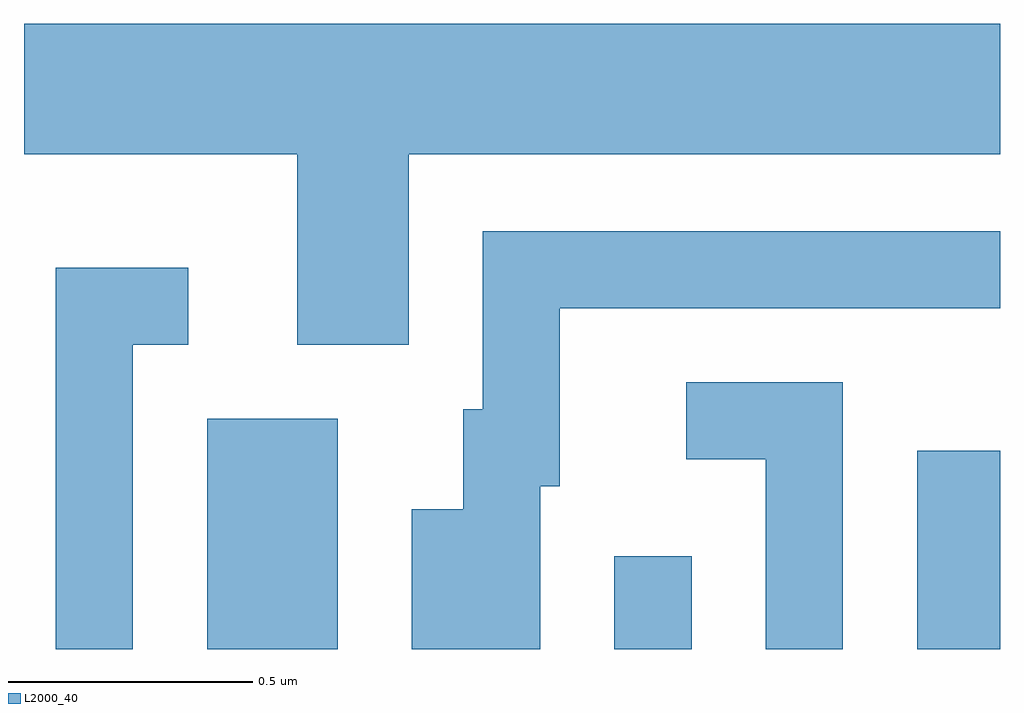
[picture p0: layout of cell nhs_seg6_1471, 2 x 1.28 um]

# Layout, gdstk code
import gdstk
lib = gdstk.Library(unit=1e-6, precision=1e-09)
def R(c, l, rs):  # rectangles x0, y0, x1, y1
    for r in rs: c.add(gdstk.rectangle(r[:2], r[2:], *l))
def P(c, l, *ps):  # polygons
    for p in ps: c.add(gdstk.Polygon(p, *l))
L2000_40 = (2000, 40)

nhs_seg6_1471 = lib.new_cell('nhs_seg6_1471')
R(nhs_seg6_1471, L2000_40, [(195.986,1631.162,196.254,1631.634), (196.821,1631.162,196.979,1631.353), (197.441,1631.162,197.611,1631.569)])
P(nhs_seg6_1471, L2000_40, [(196.399,1632.176),(197.611,1632.176),(197.611,1632.444),(195.611,1632.444),(195.611,1632.176),(196.171,1632.176),(196.171,1631.786),(196.399,1631.786)],
  [(196.669,1631.496),(196.709,1631.496),(196.709,1631.861),(197.611,1631.861),(197.611,1632.019),(196.551,1632.019),(196.551,1631.654),(196.511,1631.654),(196.511,1631.449),(196.406,1631.449),(196.406,1631.162),(196.669,1631.162)],
  [(195.834,1631.786),(195.948,1631.786),(195.948,1631.944),(195.676,1631.944),(195.676,1631.162),(195.834,1631.162)],
  [(197.289,1631.709),(196.968,1631.709),(196.968,1631.551),(197.131,1631.551),(197.131,1631.162),(197.289,1631.162)])

lib.write_gds('nhs_seg6_1471.gds')
